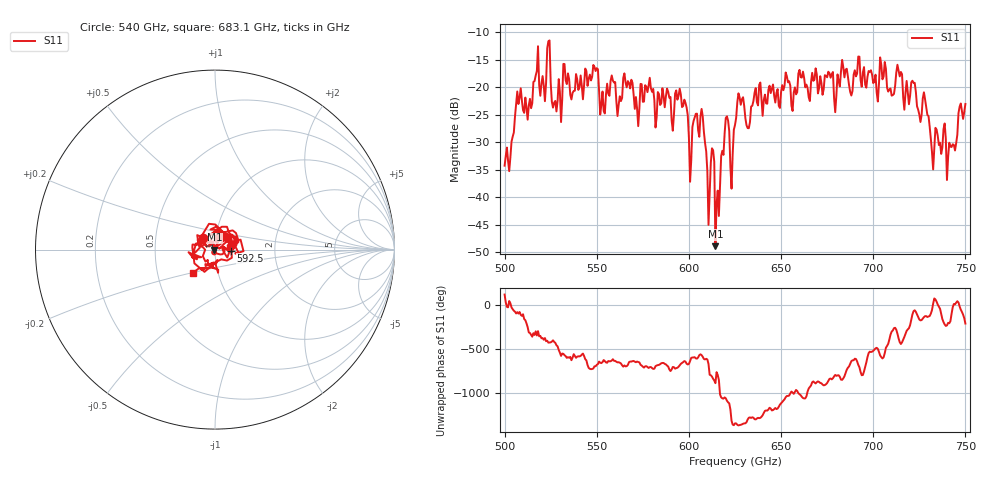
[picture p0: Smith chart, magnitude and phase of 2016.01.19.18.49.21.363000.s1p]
!Created with skrf (http://scikit-rf.org).
# GHz S RI R 50.0
!freq ReS11 ImS11
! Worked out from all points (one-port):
!   401 points, 500 GHz to 750 GHz, reference 50 ohm
!   lowest |S11| = -48.9 dB at 614.4 GHz (marker M1), VSWR 1.01, Z = 49.6 - j0.0523 ohm
!   |S11| at or under -10 dB: start of sweep to end of sweep
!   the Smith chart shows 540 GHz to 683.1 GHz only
!   S11 on the Smith chart (normalised r, x): 540 GHz: 0.87, +0.12; 592.5 GHz: 1.19, -0.02; 683.1 GHz: 0.76, -0.20
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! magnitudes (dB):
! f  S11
! 500 GHz  -34.3
! 507.5 GHz  -23.1
! 513.8 GHz  -22.1
! 516.9 GHz  -17.9
! 531.2 GHz  -22.2
! 540 GHz  -20.5
! 562.5 GHz  -21.7
! 565.6 GHz  -19.1
! 571.9 GHz  -23.9
! 592.5 GHz  -21.1
! 593.8 GHz  -22.3
! 600.6 GHz  -37.2
! 607.5 GHz  -25.3
! 610 GHz  -35.3
! 614.4 GHz  -48.9
! 615.6 GHz  -38.8
! 620.6 GHz  -25.3
! 623.1 GHz  -38.4
! 625 GHz  -26.9
! 628.1 GHz  -23.2
! 631.9 GHz  -27.4
! 637.5 GHz  -23.3
! 656.2 GHz  -24.3
! 683.1 GHz  -15.0
! 687.5 GHz  -20.9
! 718.8 GHz  -21.0
! 741.2 GHz  -30.1
! 750 GHz  -23.1
